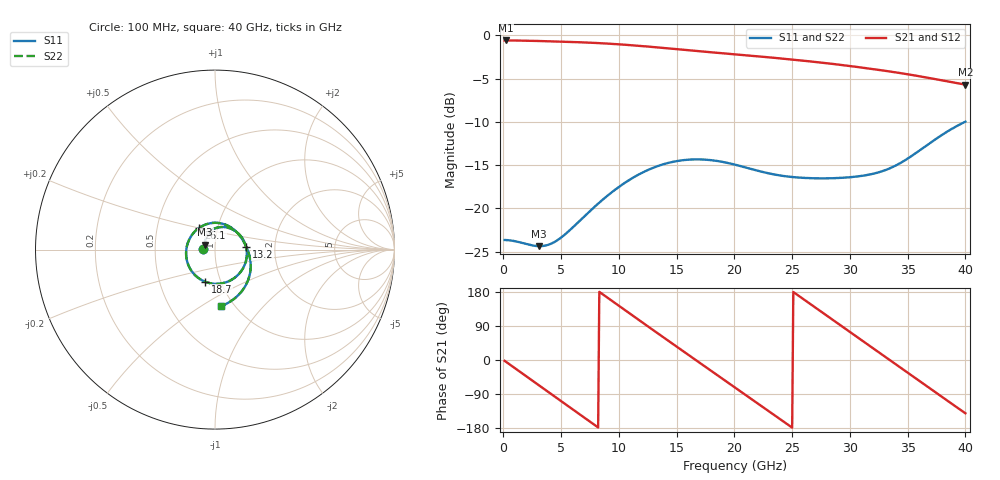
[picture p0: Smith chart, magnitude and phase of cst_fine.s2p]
! D_s8_stitch_0p5: L1 (ref L2) → L8 (ref L7), one GND via at 0.5 mm
! stackup: 8-layer 1.6 mm FR-4 (generic)
! ports: 1, 2
! CST Studio Suite 2025.5 Release from 2025-05-30, time domain (FIT, hexahedral, PBA), 601216 mesh cells, 88 s
! mesh: {'lpw': 30.0, 'lpb': 30.0, 'minstep': 0.0, 'ratio': 20}; ports: port 1 (face); port 2 (face)
! interpolated from CST's 1001 samples to the case grid
# Hz S RI R 50
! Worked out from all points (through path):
!   400 points, 100 MHz to 40 GHz, reference 50 ohm
!   highest |S21| = -0.60 dB at 200 MHz (marker M1); lowest = -5.7 dB at 40 GHz (marker M2)
!   group delay of S21, straight-line fit = 59.7 ps
!   lowest |S11| = -24.4 dB at 3.1 GHz (marker M3), VSWR 1.13, Z = 44.8 + j2.42 ohm
!   |S11| at or under -10 dB: start of sweep to 39.97 GHz
!   |S22| runs from -24.4 to -10.0 dB; largest |S21 - S12| = 3.6e-07
!   S11 on the Smith chart (normalised r, x): 100 MHz: 0.88, +0.00; 13.2 GHz: 1.42, +0.04; 18.7 GHz: 0.84, -0.31; 26.1 GHz: 0.81, +0.20; 40 GHz: 0.87, -0.61
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1e8  -0.0657 0.00124  0.9329 -0.0355  0.9329 -0.0355  -0.0657 0.00124
2e8  -0.0657 0.00248  0.9309 -0.071  0.9309 -0.071  -0.0657 0.00248
3.1e9  -0.0542 0.0269  0.3553 -0.8559  0.3553 -0.8559  -0.0542 0.0269
4.9e9  -0.0545 0.0394  -0.2605 -0.8817  -0.2605 -0.8817  -0.0545 0.0394
6.8e9  -0.0501 0.0716  -0.769 -0.4873  -0.769 -0.4873  -0.0501 0.0716
8.2e9  -0.0256 0.1035  -0.9011 -0.031  -0.9011 -0.031  -0.0256 0.1035
9.5e9  0.0204 0.1241  -0.7995 0.3942  -0.7995 0.3942  0.0204 0.1241
1.14e10  0.1126 0.1035  -0.3358 0.8057  -0.3358 0.8057  0.1126 0.1035
1.32e10  0.1737 0.0133  0.2376 0.8192  0.2376 0.8192  0.1737 0.0133
1.34e10  0.1761 0.000299  0.2975 0.7969  0.2975 0.7969  0.1761 0.000306
1.61e10  0.1056 -0.1597  0.802 0.1659  0.802 0.1659  0.1056 -0.1597
1.87e10  -0.056 -0.1785  0.5709 -0.5463  0.5709 -0.5463  -0.056 -0.1786
2.01e10  -0.1216 -0.1309  0.2192 -0.7443  0.2192 -0.7443  -0.1216 -0.1309
2.17e10  -0.1576 -0.0562  -0.2319 -0.7233  -0.2319 -0.7233  -0.1576 -0.0562
2.35e10  -0.1545 0.0272  -0.6161 -0.4108  -0.6161 -0.4108  -0.1545 0.0272
2.61e10  -0.0886 0.1211  -0.6597 0.2671  -0.6597 0.2671  -0.0886 0.1211
2.67e10  -0.0649 0.1347  -0.578 0.4036  -0.578 0.4036  -0.0649 0.1347
2.98e10  0.0704 0.1337  0.1345 0.6535  0.1345 0.6535  0.0704 0.1337
3.17e10  0.1317 0.0855  0.5095 0.3906  0.5095 0.3906  0.1317 0.0855
3.34e10  0.1671 0.0307  0.6187 0.00919  0.6187 0.00919  0.1671 0.0307
3.68e10  0.1953 -0.131  0.1719 -0.541  0.1719 -0.541  0.1953 -0.131
4e10  0.0316 -0.3155  -0.4009 -0.3293  -0.4009 -0.3293  0.0316 -0.3155
